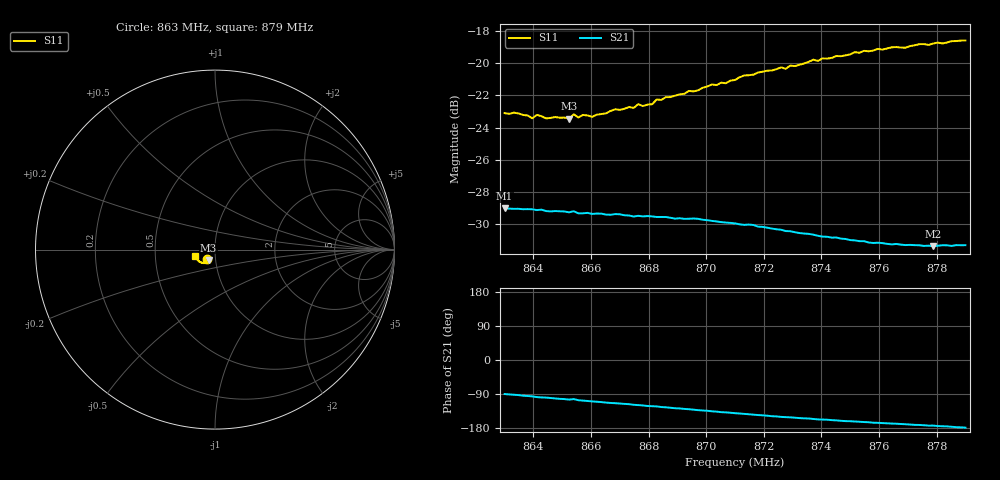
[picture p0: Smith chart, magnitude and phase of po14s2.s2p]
# HZ S RI R 50
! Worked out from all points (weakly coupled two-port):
!   101 points, 863 MHz to 879 MHz, reference 50 ohm
!   highest |S21| = -29.00 dB at 863 MHz (marker M1); lowest = -31.3 dB at 877.88 MHz (marker M2)
!   lowest |S11| = -23.5 dB at 865.24 MHz (marker M3), VSWR 1.14, Z = 46.3 - j5.3 ohm
!   |S11| at or under -10 dB: start of sweep to end of sweep
!   S12 and S22 are empty: the file has one direction only
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8.63e8  -0.0432 -0.0551  0.000119 -0.0355  0 0  0 0
8.6348e8  -0.042 -0.0558  -0.00158 -0.0353  0 0  0 0
8.6396e8  -0.0383 -0.0555  -0.00364 -0.035  0 0  0 0
8.6412e8  -0.0416 -0.0551  -0.0048 -0.0347  0 0  0 0
8.6444e8  -0.0385 -0.0553  -0.00554 -0.0343  0 0  0 0
8.6524e8  -0.0355 -0.057  -0.00864 -0.0334  0 0  0 0
8.654e8  -0.0439 -0.0537  -0.00786 -0.0338  0 0  0 0
8.6556e8  -0.0362 -0.0574  -0.00951 -0.0329  0 0  0 0
8.6572e8  -0.0349 -0.0596  -0.0101 -0.0327  0 0  0 0
8.6604e8  -0.0335 -0.0594  -0.0112 -0.0322  0 0  0 0
8.6764e8  -0.0357 -0.0655  -0.0163 -0.0294  0 0  0 0
8.6812e8  -0.0365 -0.065  -0.0177 -0.0284  0 0  0 0
8.6828e8  -0.0371 -0.0676  -0.0179 -0.0281  0 0  0 0
8.6844e8  -0.0368 -0.0675  -0.0187 -0.0276  0 0  0 0
8.71e8  -0.0487 -0.0741  -0.0245 -0.0203  0 0  0 0
8.7132e8  -0.0507 -0.0762  -0.0249 -0.0193  0 0  0 0
8.726e8  -0.0603 -0.076  -0.0264 -0.0152  0 0  0 0
8.7276e8  -0.061 -0.0741  -0.0263 -0.0147  0 0  0 0
8.7372e8  -0.07 -0.0748  -0.0268 -0.0121  0 0  0 0
8.7644e8  -0.0932 -0.0621  -0.0268 -0.00582  0 0  0 0
8.7788e8  -0.1038 -0.0495  -0.0269 -0.00329  0 0  0 0
8.79e8  -0.1113 -0.0378  -0.0273 -0.000731  0 0  0 0
